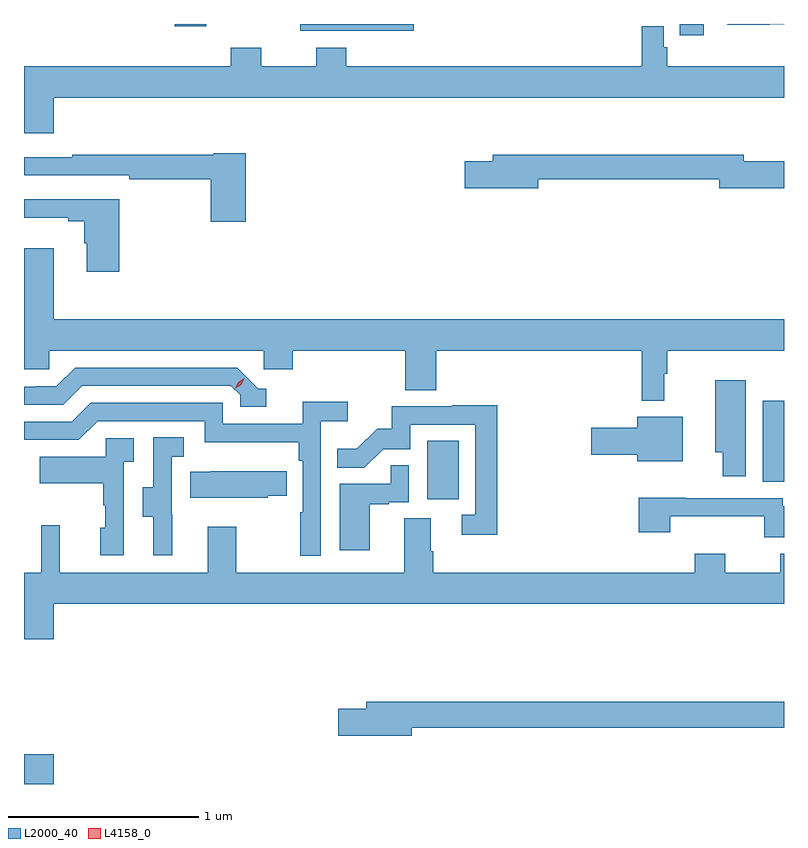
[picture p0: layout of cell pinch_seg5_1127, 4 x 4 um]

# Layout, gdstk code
import gdstk
lib = gdstk.Library(unit=1e-6, precision=1e-09)
def R(c, l, rs):  # rectangles x0, y0, x1, y1
    for r in rs: c.add(gdstk.rectangle(r[:2], r[2:], *l))
def P(c, l, *ps):  # polygons
    for p in ps: c.add(gdstk.Polygon(p, *l))
L2000_40 = (2000, 40)
L4158_0 = (4158, 0)

pinch_seg5_1127 = lib.new_cell('pinch_seg5_1127')
R(pinch_seg5_1127, L2000_40, [(884.295,837.163,884.452,837.319), (886.418,838.662,886.582,838.969), (888.182,838.753,888.295,839.179), (887.746,841.104,887.872,841.163), (885.75,841.127,886.345,841.163), (885.089,841.152,885.254,841.163)])
P(pinch_seg5_1127, L2000_40, [(888.221,841.161),(888.295,841.161),(888.295,841.163),(887.997,841.163),(887.997,841.159),(888.221,841.159)],
  [(884.452,840.776),(888.295,840.776),(888.295,840.94),(887.681,840.94),(887.681,841.041),(887.661,841.041),(887.661,841.15),(887.545,841.15),(887.545,840.94),(885.992,840.94),(885.992,841.039),(885.832,841.039),(885.832,840.94),(885.543,840.94),(885.543,841.039),(885.383,841.039),(885.383,840.94),(884.295,840.94),(884.295,840.588),(884.452,840.588)],
  [(885.461,840.483),(885.294,840.483),(885.294,840.475),(884.548,840.475),(884.548,840.462),(884.295,840.462),(884.295,840.366),(884.848,840.366),(884.848,840.346),(885.278,840.346),(885.278,840.123),(885.461,840.123)],
  [(887.002,840.346),(887.954,840.346),(887.954,840.299),(888.295,840.299),(888.295,840.441),(888.082,840.441),(888.082,840.475),(886.763,840.475),(886.763,840.441),(886.614,840.441),(886.614,840.299),(887.002,840.299)],
  [(884.795,840.24),(884.295,840.24),(884.295,840.143),(884.528,840.143),(884.528,840.124),(884.612,840.124),(884.612,840.009),(884.624,840.009),(884.624,839.859),(884.795,839.859)],
  [(884.452,839.983),(884.295,839.983),(884.295,839.346),(884.427,839.346),(884.427,839.444),(885.558,839.444),(885.558,839.346),(885.71,839.346),(885.71,839.444),(886.301,839.444),(886.301,839.236),(886.466,839.236),(886.466,839.444),(887.545,839.444),(887.545,839.181),(887.666,839.181),(887.666,839.321),(887.681,839.321),(887.681,839.444),(888.295,839.444),(888.295,839.608),(884.452,839.608)],
  [(885.571,839.244),(885.528,839.244),(885.417,839.355),(884.564,839.355),(884.465,839.256),(884.358,839.256),(884.358,839.253),(884.295,839.253),(884.295,839.16),(884.502,839.16),(884.601,839.259),(885.384,839.259),(885.432,839.211),(885.432,839.148),(885.571,839.148)],
  [(888.094,839.287),(887.933,839.287),(887.933,838.91),(887.972,838.91),(887.972,838.782),(888.094,838.782)],
  [(885.858,839.072),(886,839.072),(886,839.174),(885.761,839.174),(885.761,839.058),(885.342,839.058),(885.342,839.169),(884.645,839.169),(884.546,839.07),(884.295,839.07),(884.295,838.974),(884.583,838.974),(884.682,839.073),(885.246,839.073),(885.246,838.961),(885.742,838.961),(885.742,838.865),(885.762,838.865),(885.762,838.592),(885.75,838.592),(885.75,838.365),(885.858,838.365)],
  [(886.787,839.156),(886.549,839.156),(886.549,839.151),(886.231,839.151),(886.231,839.034),(886.154,839.034),(886.047,838.927),(885.943,838.927),(885.943,838.828),(886.087,838.828),(886.185,838.926),(886.329,838.926),(886.329,839.055),(886.671,839.055),(886.671,838.581),(886.599,838.581),(886.599,838.476),(886.787,838.476)],
  [(887.761,839.095),(887.522,839.095),(887.522,839.037),(887.28,839.037),(887.28,838.895),(887.522,838.895),(887.522,838.862),(887.761,838.862)],
  [(885.074,838.581),(885.072,838.581),(885.072,838.885),(885.136,838.885),(885.136,838.988),(884.976,838.988),(884.976,838.725),(884.921,838.725),(884.921,838.57),(884.975,838.57),(884.975,838.368),(885.074,838.368)],
  [(884.82,838.859),(884.872,838.859),(884.872,838.983),(884.724,838.983),(884.724,838.885),(884.377,838.885),(884.377,838.745),(884.712,838.745),(884.712,838.631),(884.722,838.631),(884.722,838.512),(884.696,838.512),(884.696,838.368),(884.82,838.368)],
  [(886.114,838.635),(886.214,838.635),(886.214,838.647),(886.32,838.647),(886.32,838.841),(886.225,838.841),(886.225,838.743),(885.956,838.743),(885.956,838.392),(886.114,838.392)],
  [(885.579,838.681),(885.677,838.681),(885.677,838.81),(885.277,838.81),(885.277,838.807),(885.169,838.807),(885.169,838.67),(885.579,838.67)],
  [(888.295,838.624),(888.288,838.624),(888.288,838.668),(887.779,838.668),(887.779,838.67),(887.531,838.67),(887.531,838.488),(887.696,838.488),(887.696,838.571),(888.192,838.571),(888.192,838.463),(888.295,838.463)],
  [(884.452,838.112),(888.295,838.112),(888.295,838.375),(888.274,838.375),(888.274,838.276),(887.985,838.276),(887.985,838.375),(887.825,838.375),(887.825,838.276),(886.448,838.276),(886.448,838.388),(886.435,838.388),(886.435,838.562),(886.295,838.562),(886.295,838.276),(885.411,838.276),(885.411,838.516),(885.263,838.516),(885.263,838.276),(884.483,838.276),(884.483,838.525),(884.385,838.525),(884.385,838.276),(884.295,838.276),(884.295,837.924),(884.452,837.924)],
  [(886.336,837.46),(888.295,837.46),(888.295,837.596),(886.097,837.596),(886.097,837.56),(885.948,837.56),(885.948,837.418),(886.336,837.418)])
P(pinch_seg5_1127, L4158_0, [(885.407,839.245),(885.407,839.246),(885.423,839.278),(885.453,839.298),(885.454,839.298),(885.454,839.298),(885.438,839.265),(885.408,839.245)])

lib.write_gds('pinch_seg5_1127.gds')
